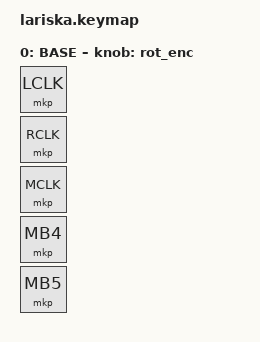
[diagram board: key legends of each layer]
#include <behaviors.dtsi>
#include <dt-bindings/zmk/bt.h>
#include <dt-bindings/zmk/keys.h>
#include <dt-bindings/zmk/outputs.h>
#include <dt-bindings/zmk/pointing.h>

#define U_TAPPING_TERM 220
#define U_QUICK_TAP 200

/ {

    behaviors {

        ec_s: mouse_scroll {
            compatible = "zmk,behavior-input-two-axis";
            #binding-cells = <1>;
            trigger-period-ms = <3>;
            x-input-code = <INPUT_REL_HWHEEL>;
            y-input-code = <INPUT_REL_WHEEL>;
            time-to-max-speed-ms = <100>;
            acceleration-exponent = <0>;
        };

        rot_enc: sensor_rotate {
            compatible = "zmk,behavior-sensor-rotate";
            #sensor-binding-cells = <0>;
            bindings = <&ec_s MOVE_Y(-195)>, <&ec_s MOVE_Y(195)>;
            tap-ms = <65>;
        };
    };

    keymap {
        compatible = "zmk,keymap";

        BASE {
            bindings = <
                &mkp LCLK
                &mkp RCLK
                &mkp MCLK
                &mkp MB4
                &mkp MB5
            >;
            sensor-bindings = <&rot_enc>;
        };

    };
};
